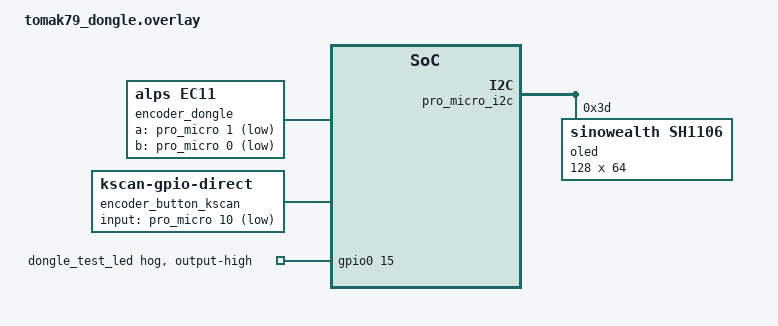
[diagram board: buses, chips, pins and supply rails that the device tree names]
#include <behaviors.dtsi>
#include <dt-bindings/zmk/keys.h>
#include "tomak79.dtsi"

/ {
    chosen {
        zmk,physical-layout = &physical_layout0;
        zmk,kscan = &dongle_sideband;
        zephyr,display = &oled;
    };

    dongle_kscan: dongle_kscan {
        compatible = "zmk,kscan-mock";
        status = "okay";
        columns = <16>;
        rows = <6>;
        events = <>;
    };

    encoder_dongle: encoder_dongle {
        compatible = "alps,ec11";
        a-gpios = <&pro_micro 1 (GPIO_ACTIVE_LOW | GPIO_PULL_UP)>;
        b-gpios = <&pro_micro 0 (GPIO_ACTIVE_LOW | GPIO_PULL_UP)>;
        steps = <80>;
        status = "okay";
    };

    encoder_button_kscan: encoder_button_kscan {
        compatible = "zmk,kscan-gpio-direct";
        wakeup-source;
        input-gpios = <&pro_micro 10 (GPIO_ACTIVE_LOW | GPIO_PULL_UP)>;
    };

    composite_kscan: composite_kscan {
        compatible = "zmk,kscan-composite";
        rows = <7>;
        columns = <16>;

        keyboard {
            kscan = <&dongle_kscan>;
        };

        encoder_button {
            kscan = <&encoder_button_kscan>;
            row-offset = <6>;
        };
    };

    dongle_sideband: dongle_sideband {
        compatible = "zmk,kscan-sideband-behaviors";
        auto-enable;
        wakeup-source;
        kscan = <&composite_kscan>;

        encoder_press {
            row = <6>;
            column = <0>;
            bindings = <&kp C_MUTE>;
        };
    };
};

&gpio0 {
    dongle_test_led {
        gpio-hog;
        gpios = <15 GPIO_ACTIVE_HIGH>;
        output-high;
    };
};

&pro_micro_i2c {
    status = "okay";

    oled: oled@3c {
        compatible = "sinowealth,sh1106";
        reg = <0x3d>;
        width = <128>;
        height = <64>;
        segment-offset = <2>;
        page-offset = <0>;
        display-offset = <0>;
        multiplex-ratio = <63>;
        segment-remap;
        com-invdir;
        prechargep = <0x22>;
    };
};
